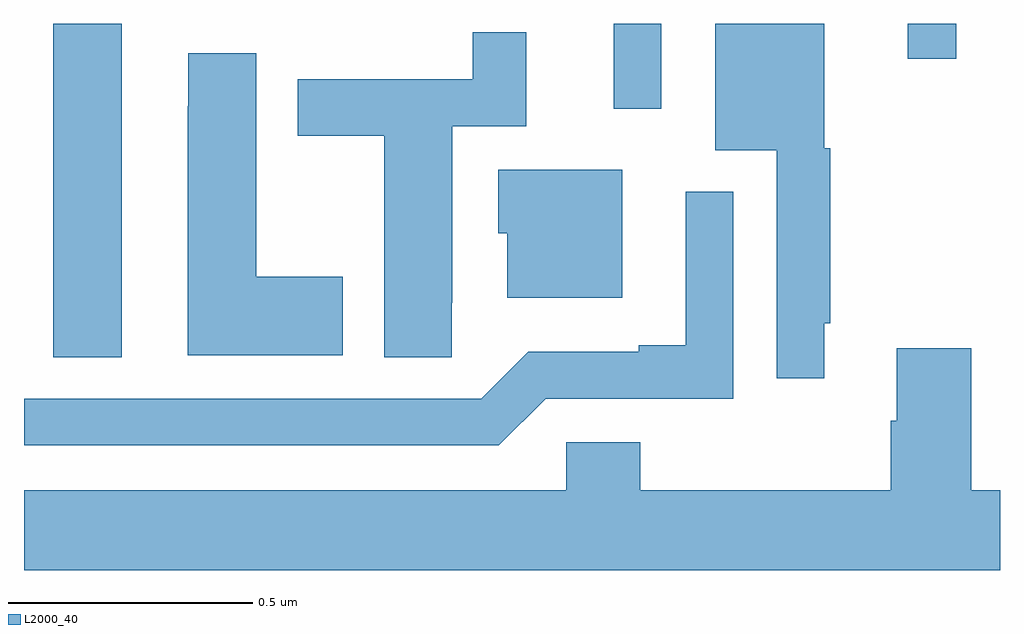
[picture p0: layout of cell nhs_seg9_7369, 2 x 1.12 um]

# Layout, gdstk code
import gdstk
lib = gdstk.Library(unit=1e-6, precision=1e-09)
def R(c, l, rs):  # rectangles x0, y0, x1, y1
    for r in rs: c.add(gdstk.rectangle(r[:2], r[2:], *l))
def P(c, l, *ps):  # polygons
    for p in ps: c.add(gdstk.Polygon(p, *l))
L2000_40 = (2000, 40)

nhs_seg9_7369 = lib.new_cell('nhs_seg9_7369')
R(nhs_seg9_7369, L2000_40, [(203.06,1236.817,203.2,1237.5), (204.209,1237.326,204.306,1237.5), (204.811,1237.428,204.91,1237.5)])
P(nhs_seg9_7369, L2000_40, [(204.64,1236.886),(204.652,1236.886),(204.652,1237.245),(204.64,1237.245),(204.64,1237.5),(204.416,1237.5),(204.416,1237.241),(204.543,1237.241),(204.543,1236.774),(204.64,1236.774)],
  [(203.877,1236.928),(203.878,1236.928),(203.878,1237.29),(204.029,1237.29),(204.029,1237.483),(203.92,1237.483),(203.92,1237.386),(203.561,1237.386),(203.561,1237.27),(203.738,1237.27),(203.738,1236.817),(203.877,1236.817)],
  [(203.653,1236.981),(203.476,1236.981),(203.476,1237.439),(203.337,1237.439),(203.337,1237.331),(203.336,1237.331),(203.336,1236.821),(203.653,1236.821)],
  [(204.226,1237.201),(203.972,1237.201),(203.972,1237.071),(203.99,1237.071),(203.99,1236.938),(204.226,1236.938)],
  [(204.069,1236.732),(204.453,1236.732),(204.453,1237.156),(204.356,1237.156),(204.356,1236.841),(204.26,1236.841),(204.26,1236.828),(204.033,1236.828),(203.937,1236.732),(203,1236.732),(203,1236.636),(203.973,1236.636)],
  [(205,1236.544),(204.941,1236.544),(204.941,1236.835),(204.788,1236.835),(204.788,1236.686),(204.776,1236.686),(204.776,1236.544),(204.263,1236.544),(204.263,1236.642),(204.111,1236.642),(204.111,1236.544),(203,1236.544),(203,1236.38),(205,1236.38)])

lib.write_gds('nhs_seg9_7369.gds')
